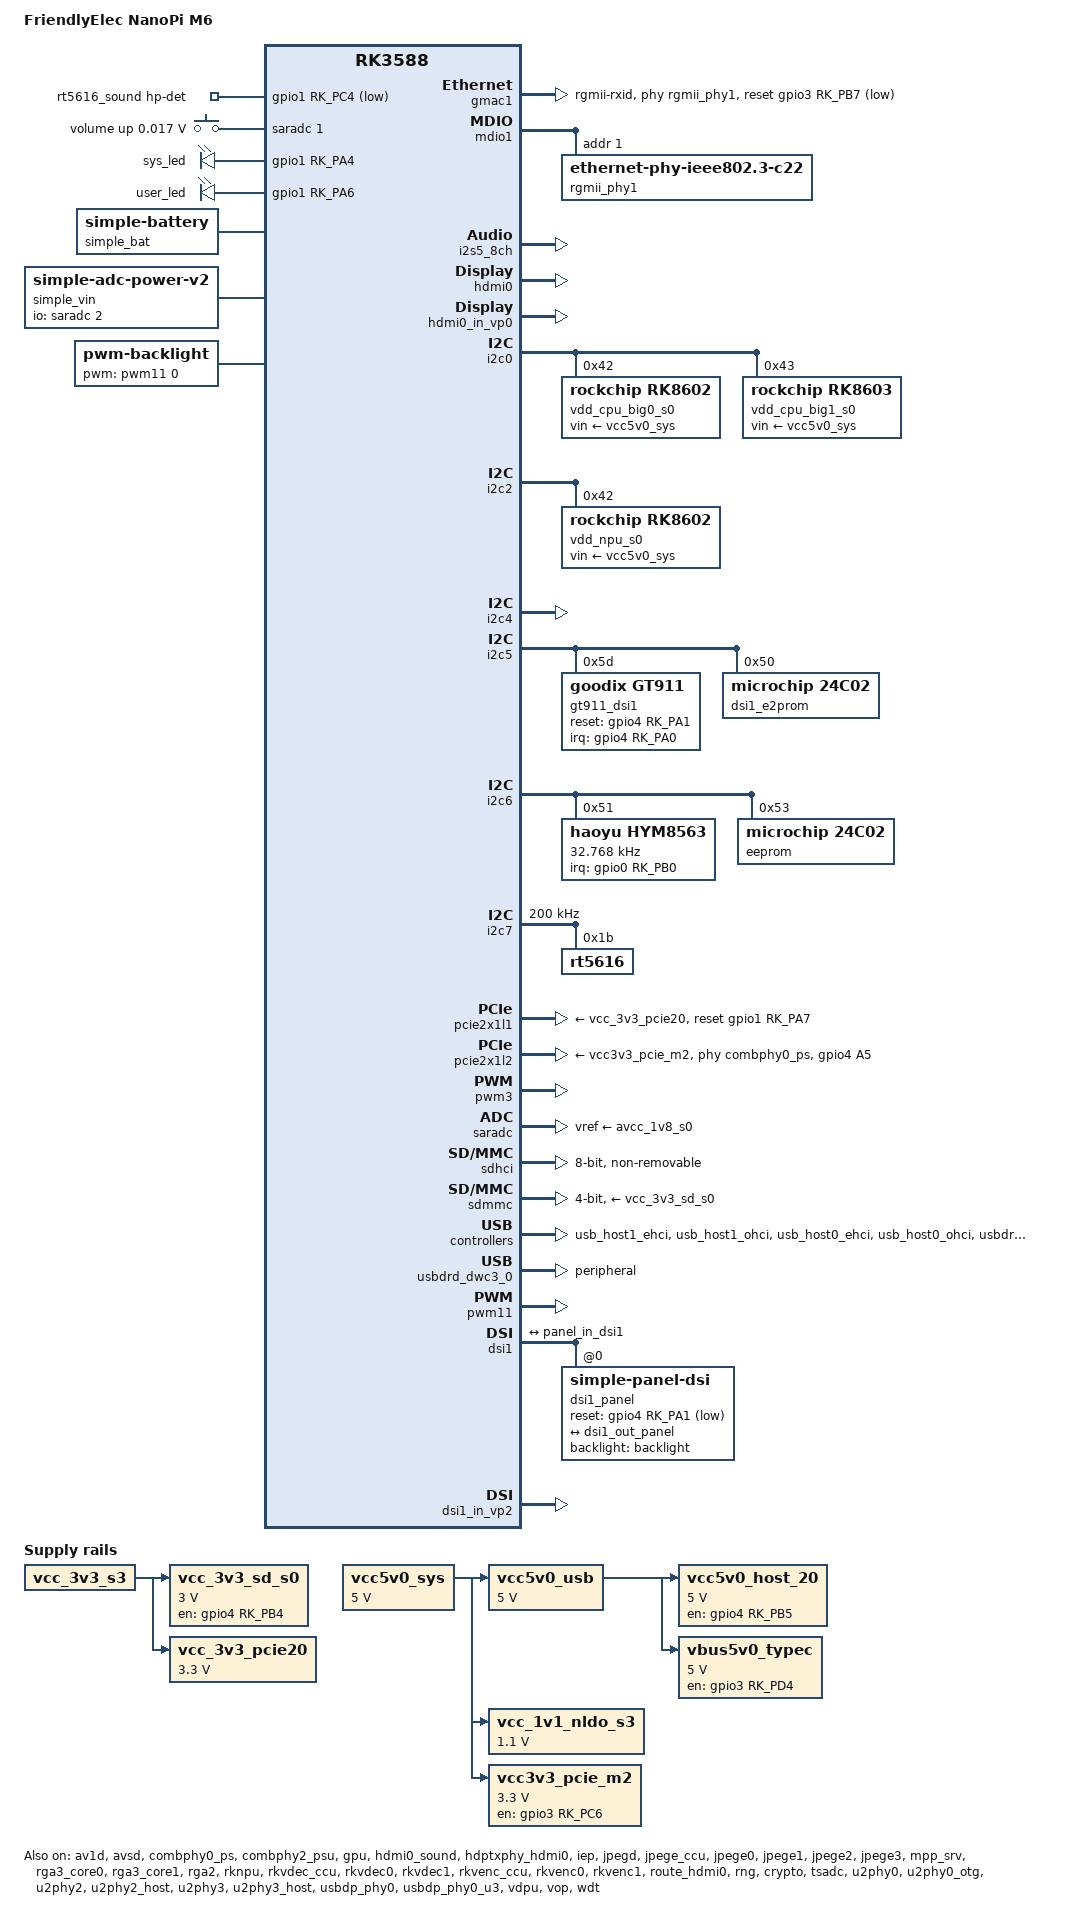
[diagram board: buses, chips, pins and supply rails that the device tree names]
// SPDX-License-Identifier: (GPL-2.0+ OR MIT)
/*
 * Copyright (c) 2022 FriendlyElec Computer Tech. Co., Ltd.
 * (http://www.friendlyelec.com)
 *
 * Copyright (c) 2021 Rockchip Electronics Co., Ltd.
 */
#include <dt-bindings/clock/rk3588-cru.h>
#include <dt-bindings/interrupt-controller/arm-gic.h>
#include <dt-bindings/interrupt-controller/irq.h>
#include <dt-bindings/phy/phy.h>
#include <dt-bindings/power/rk3588-power.h>
#include <dt-bindings/soc/rockchip,boot-mode.h>
#include <dt-bindings/soc/rockchip-system-status.h>
#include <dt-bindings/suspend/rockchip-rk3588.h>
#include <dt-bindings/thermal/thermal.h>
#include <dt-bindings/usb/pd.h>
#include <dt-bindings/gpio/gpio.h>
#include <dt-bindings/pwm/pwm.h>
#include <dt-bindings/pinctrl/rockchip.h>
#include <dt-bindings/input/linux-event-codes.h>
#include <dt-bindings/display/drm_mipi_dsi.h>
#include <dt-bindings/display/rockchip_vop.h>
#include <dt-bindings/sensor-dev.h>
#include "rk3588s.dtsi"
#include "rk3588-rk806-single.dtsi"
#include "rk3588-android.dtsi"

/dts-v1/;

/ {
	model = "FriendlyElec NanoPi M6";
	compatible = "friendlyelec,nanopi-m6", "rockchip,rk3588";

	aliases {
		ethernet0 = &gmac1;
	};

	rt5616_sound: rt5616-sound {
		status = "okay";
		compatible = "simple-audio-card";
		pinctrl-names = "default";
		pinctrl-0 = <&hp_det>;

		simple-audio-card,name = "realtek,rt5616-codec";
		simple-audio-card,format = "i2s";
		simple-audio-card,mclk-fs = <256>;

		simple-audio-card,hp-det-gpio = <&gpio1 RK_PC4 GPIO_ACTIVE_LOW>;
		simple-audio-card,hp-pin-name = "Headphone Jack";

		simple-audio-card,widgets =
			"Headphone", "Headphone Jack",
			"Microphone", "Microphone Jack";
		simple-audio-card,routing =
			"Headphone Jack", "HPOL",
			"Headphone Jack", "HPOR",
			"MIC1", "Microphone Jack",
			"Microphone Jack", "micbias1";

		simple-audio-card,cpu {
			sound-dai = <&i2s0_8ch>;
		};
		simple-audio-card,codec {
			sound-dai = <&rt5616>;
		};
	};

	adc_keys: adc-keys {
		compatible = "adc-keys";
		io-channels = <&saradc 1>;
		io-channel-names = "buttons";
		keyup-threshold-microvolt = <1800000>;
		poll-interval = <100>;

		vol-up-key {
			label = "volume up";
			linux,code = <KEY_VOLUMEUP>;
			press-threshold-microvolt = <17000>;
		};
	};

	gpio_leds: gpio-leds {
		compatible = "gpio-leds";

		sys_led: led-0 {
			gpios = <&gpio1 RK_PA4 GPIO_ACTIVE_HIGH>;
			label = "sys_led";
			linux,default-trigger = "heartbeat";
			pinctrl-names = "default";
			pinctrl-0 = <&sys_led_pin>;
		};

		user_led: led-1 {
			gpios = <&gpio1 RK_PA6 GPIO_ACTIVE_HIGH>;
			label = "user_led";
			pinctrl-names = "default";
			pinctrl-0 = <&user_led_pin>;
		};
	};

	vcc5v0_sys: vcc5v0-sys {
		compatible = "regulator-fixed";
		regulator-name = "vcc5v0_sys";
		regulator-always-on;
		regulator-boot-on;
		regulator-min-microvolt = <5000000>;
		regulator-max-microvolt = <5000000>;
	};

	vcc5v0_usb: vcc5v0-usb {
		compatible = "regulator-fixed";
		regulator-name = "vcc5v0_usb";
		regulator-always-on;
		regulator-boot-on;
		regulator-min-microvolt = <5000000>;
		regulator-max-microvolt = <5000000>;
		vin-supply = <&vcc5v0_sys>;
	};

	vcc_1v1_nldo_s3: vcc-1v1-nldo-s3 {
		compatible = "regulator-fixed";
		regulator-name = "vcc_1v1_nldo_s3";
		regulator-always-on;
		regulator-boot-on;
		regulator-min-microvolt = <1100000>;
		regulator-max-microvolt = <1100000>;
		vin-supply = <&vcc5v0_sys>;
	};

	vcc_3v3_sd_s0: vcc-3v3-sd-s0-regulator {
		compatible = "regulator-fixed";
		enable-active-high;
		gpio = <&gpio4 RK_PB4 GPIO_ACTIVE_HIGH>;
		pinctrl-names = "default";
		pinctrl-0 = <&sd_s0_pwr>;
		regulator-always-on;
		regulator-boot-on;
		regulator-max-microvolt = <3000000>;
		regulator-min-microvolt = <3000000>;
		regulator-name = "vcc_3v3_sd_s0";
		vin-supply = <&vcc_3v3_s3>;
	};

	vcc_3v3_pcie20: vcc3v3-pcie20 {
		compatible = "regulator-fixed";
		regulator-name = "vcc_3v3_pcie20";
		regulator-always-on;
		regulator-boot-on;
		regulator-min-microvolt = <3300000>;
		regulator-max-microvolt = <3300000>;
		vin-supply = <&vcc_3v3_s3>;
	};

	vcc3v3_pcie_m2: vcc3v3-pcie30 {
		compatible = "regulator-fixed";
		enable-active-high;
		gpios = <&gpio3 RK_PC6 GPIO_ACTIVE_HIGH>;
		pinctrl-names = "default";
		pinctrl-0 = <&pcie_m2_0_pwren>;
		regulator-name = "vcc3v3_pcie_m2";
		regulator-min-microvolt = <3300000>;
		regulator-max-microvolt = <3300000>;
		vin-supply = <&vcc5v0_sys>;
	};

	vcc5v0_host_20: vcc5v0-host-20 {
		compatible = "regulator-fixed";
		enable-active-high;
		gpio = <&gpio4 RK_PB5 GPIO_ACTIVE_HIGH>;
		pinctrl-names = "default";
		pinctrl-0 = <&vcc5v0_host20_en>;
		regulator-name = "vcc5v0_host_20";
		regulator-min-microvolt = <5000000>;
		regulator-max-microvolt = <5000000>;
		vin-supply = <&vcc5v0_usb>;
	};

	vbus5v0_typec: vbus5v0-typec {
		compatible = "regulator-fixed";
		enable-active-high;
		gpio = <&gpio3 RK_PD4 GPIO_ACTIVE_HIGH>;
		pinctrl-names = "default";
		pinctrl-0 = <&typec5v_pwren>;
		regulator-name = "vbus5v0_typec";
		regulator-min-microvolt = <5000000>;
		regulator-max-microvolt = <5000000>;
		vin-supply = <&vcc5v0_usb>;
	};

	simple_bat: battery {
		compatible = "simple-battery";
		voltage-max-design-microvolt = <21000000>;
		voltage-min-design-microvolt = <4500000>;
	};

	simple_vin: simple-vin {
		compatible = "simple-adc-power-v2";
		io-channels = <&saradc 2>;
		io-channel-names = "voltage";
		monitored-battery = <&simple_bat>;
	};

	backlight: backlight {
		status = "okay";
		compatible = "pwm-backlight";
		pwms = <&pwm11 0 25000 0>;
		brightness-levels = <
		0  20  20  21  21  22  22  23
		23  24  24  25  25  26  26  27
		27  28  28  29  29  30  30  31
		31  32  32  33  33  34  34  35
		35  36  36  37  37  38  38  39
		40  41  42  43  44  45  46  47
		48  49  50  51  52  53  54  55
		56  57  58  59  60  61  62  63
		64  65  66  67  68  69  70  71
		72  73  74  75  76  77  78  79
		80  81  82  83  84  85  86  87
		88  89  90  91  92  93  94  95
		96  97  98  99 100 101 102 103
		104 105 106 107 108 109 110 111
		112 113 114 115 116 117 118 119
		120 121 122 123 124 125 126 127
		128 129 130 131 132 133 134 135
		136 137 138 139 140 141 142 143
		144 145 146 147 148 149 150 151
		152 153 154 155 156 157 158 159
		160 161 162 163 164 165 166 167
		168 169 170 171 172 173 174 175
		176 177 178 179 180 181 182 183
		184 185 186 187 188 189 190 191
		192 193 194 195 196 197 198 199
		200 201 202 203 204 205 206 207
		208 209 210 211 212 213 214 215
		216 217 218 219 220 221 222 223
		224 225 226 227 228 229 230 231
		232 233 234 235 236 237 238 239
		240 241 242 243 244 245 246 247
		248 249 250 251 252 253 254 255
		>;
		default-brightness-level = <200>;
	};

	test-power {
		status = "okay";
	};
};

&av1d {
	status = "okay";
};

&av1d_mmu {
	status = "okay";
};

&avsd {
	status = "okay";
};

&combphy0_ps {
	status = "okay";
};

&combphy2_psu {
	status = "okay";
};

&cpu_l0 {
	cpu-supply = <&vdd_cpu_lit_s0>;
	mem-supply = <&vdd_cpu_lit_mem_s0>;
};

&cpu_b0 {
	cpu-supply = <&vdd_cpu_big0_s0>;
	mem-supply = <&vdd_cpu_big0_mem_s0>;
};

&cpu_b2 {
	cpu-supply = <&vdd_cpu_big1_s0>;
	mem-supply = <&vdd_cpu_big1_mem_s0>;
};

&display_subsystem {
	clocks = <&hdptxphy_hdmi0>, <&hdptxphy_hdmi0>;
	clock-names = "hdmi0_phy_pll", "hdmi1_phy_pll";
};

&gpu {
	mali-supply = <&vdd_gpu_s0>;
	mem-supply = <&vdd_gpu_mem_s0>;
	upthreshold = <60>;
	downdifferential = <30>;
	status = "okay";
};

&gmac1 {
	/* Use rgmii-rxid mode to disable rx delay inside Soc */
	phy-mode = "rgmii-rxid";
	clock_in_out = "output";

	snps,no-vlhash;
	snps,reset-gpio = <&gpio3 RK_PB7 GPIO_ACTIVE_LOW>;
	snps,reset-active-low;
	/* Reset time is 20ms, 100ms for rtl8211f */
	snps,reset-delays-us = <0 20000 100000>;

	pinctrl-names = "default";
	pinctrl-0 = <&gmac1_miim
		     &gmac1_tx_bus2
		     &gmac1_rx_bus2
		     &gmac1_rgmii_clk
		     &gmac1_rgmii_bus>;

	tx_delay = <0x42>;
	/* rx_delay = <0x4f>; */

	phy-handle = <&rgmii_phy1>;
	status = "okay";
};

&mdio1 {
	rgmii_phy1: phy@1 {
		compatible = "ethernet-phy-ieee802.3-c22";
		reg = <0x1>;
	};
};

&i2s5_8ch {
	status = "okay";
};

&hdmi0 {
	cec-enable;
	enable-gpios = <&gpio4 RK_PB6 GPIO_ACTIVE_HIGH>;
	status = "okay";
};

&hdmi0_in_vp0 {
	status = "okay";
};

&hdmi0_sound {
	status = "okay";
};

&hdptxphy_hdmi0 {
	status = "okay";
};

&i2c0 {
	status = "okay";
	pinctrl-names = "default";
	pinctrl-0 = <&i2c0m2_xfer>;

	vdd_cpu_big0_s0: vdd_cpu_big0_mem_s0: rk8602@42 {
		compatible = "rockchip,rk8602";
		reg = <0x42>;
		vin-supply = <&vcc5v0_sys>;
		regulator-compatible = "rk860x-reg";
		regulator-name = "vdd_cpu_big0_s0";
		regulator-min-microvolt = <550000>;
		regulator-max-microvolt = <1050000>;
		regulator-ramp-delay = <2300>;
		rockchip,suspend-voltage-selector = <1>;
		regulator-boot-on;
		regulator-always-on;
		regulator-state-mem {
			regulator-off-in-suspend;
		};
	};

	vdd_cpu_big1_s0: vdd_cpu_big1_mem_s0: rk8603@43 {
		compatible = "rockchip,rk8603";
		reg = <0x43>;
		vin-supply = <&vcc5v0_sys>;
		regulator-compatible = "rk860x-reg";
		regulator-name = "vdd_cpu_big1_s0";
		regulator-min-microvolt = <550000>;
		regulator-max-microvolt = <1050000>;
		regulator-ramp-delay = <2300>;
		rockchip,suspend-voltage-selector = <1>;
		regulator-boot-on;
		regulator-always-on;
		regulator-state-mem {
			regulator-off-in-suspend;
		};
	};
};

&i2c2 {
	status = "okay";

	vdd_npu_s0: vdd_npu_mem_s0: rk8602@42 {
		compatible = "rockchip,rk8602";
		reg = <0x42>;
		vin-supply = <&vcc5v0_sys>;
		regulator-compatible = "rk860x-reg";
		regulator-name = "vdd_npu_s0";
		regulator-min-microvolt = <550000>;
		regulator-max-microvolt = <950000>;
		regulator-ramp-delay = <2300>;
		rockchip,suspend-voltage-selector = <1>;
		regulator-boot-on;
		regulator-always-on;
		regulator-state-mem {
			regulator-off-in-suspend;
		};
	};
};

&i2c3 {
	status = "disabled";
};

&i2c4 {
	status = "okay";
	pinctrl-names = "default";
	pinctrl-0 = <&i2c4m3_xfer>;
};

&i2c5 {
	status = "disabled";
	pinctrl-names = "default";
	pinctrl-0 = <&i2c5m3_xfer>;
};

&i2c6 {
	status = "okay";
	pinctrl-names = "default";
	pinctrl-0 = <&i2c6m0_xfer>;


	hym8563: hym8563@51 {
		compatible = "haoyu,hym8563";
		reg = <0x51>;
		#clock-cells = <0>;
		clock-frequency = <32768>;
		clock-output-names = "hym8563";
		pinctrl-names = "default";
		pinctrl-0 = <&rtc_int>;

		interrupt-parent = <&gpio0>;
		interrupts = <RK_PB0 IRQ_TYPE_LEVEL_LOW>;
		wakeup-source;
	};

	eeprom@53 {
		compatible = "microchip,24c02", "atmel,24c02";
		reg = <0x53>;
		#address-cells = <2>;
		#size-cells = <0>;
		pagesize = <16>;
		size = <256>;

		eui_48: eui-48@fa {
			reg = <0xfa 0x06>;
		};
	};
};

&i2c7 {
	clock-frequency = <200000>;
	status = "okay";

	rt5616: rt5616@1b {
		status = "okay";
		#sound-dai-cells = <0>;
		compatible = "rt5616";
		reg = <0x1b>;
		clocks = <&mclkout_i2s0>;
		clock-names = "mclk";
		assigned-clocks = <&mclkout_i2s0>;
		assigned-clock-rates = <12288000>;
		pinctrl-names = "default";
		pinctrl-0 = <&i2s0_mclk>;
	};
};

&i2c8 {
	status = "disabled";
};

&iep {
	status = "okay";
};

&iep_mmu {
	status = "okay";
};

&jpegd {
	status = "okay";
};

&jpegd_mmu {
	status = "okay";
};

&jpege_ccu {
	status = "okay";
};

&jpege0 {
	status = "okay";
};

&jpege0_mmu {
	status = "okay";
};

&jpege1 {
	status = "okay";
};

&jpege1_mmu {
	status = "okay";
};

&jpege2 {
	status = "okay";
};

&jpege2_mmu {
	status = "okay";
};

&jpege3 {
	status = "okay";
};

&jpege3_mmu {
	status = "okay";
};

&mpp_srv {
	status = "okay";
};

&pcie2x1l1 {
	reset-gpios = <&gpio1 RK_PA7 GPIO_ACTIVE_HIGH>;
	rockchip,init-delay-ms = <100>;
	vpcie3v3-supply = <&vcc_3v3_pcie20>;
	rockchip,skip-hw-retry;
	status = "okay";
};

&pcie2x1l2 {
	pinctrl-names = "default";
	pinctrl-0 = <&pcie_m2_0_prsnt>;
	prsnt-gpios = <&gpio4 RK_PA5 GPIO_ACTIVE_HIGH>;
	phys = <&combphy0_ps PHY_TYPE_PCIE 0>;
	rockchip,skip-hw-retry;
	vpcie3v3-supply = <&vcc3v3_pcie_m2>;
	status = "okay";
};

&pinctrl {
	gpio-leds {
		sys_led_pin: sys-led-pin {
			rockchip,pins =
				<1 RK_PA4 RK_FUNC_GPIO &pcfg_pull_none>;
		};

		user_led_pin: lan1-led-pin {
			rockchip,pins =
				<1 RK_PA6 RK_FUNC_GPIO &pcfg_pull_none>;
		};
	};

	hym8563 {
		rtc_int: rtc-int {
			rockchip,pins = <0 RK_PB0 RK_FUNC_GPIO &pcfg_pull_up>;
		};
	};

	pcie {
		pcie_m2_0_pwren: pcie-m20-pwren {
			rockchip,pins = <3 RK_PC6 RK_FUNC_GPIO &pcfg_pull_none>;
		};
		pcie_m2_0_prsnt: pcie-m20-prsnt {
			rockchip,pins = <4 RK_PA5 RK_FUNC_GPIO &pcfg_pull_up>;
		};
	};

	sdmmc {
		sd_s0_pwr: sd-s0-pwr {
			rockchip,pins = <4 RK_PB4 RK_FUNC_GPIO &pcfg_pull_up>;
		};
	};

	usb {
		typec5v_pwren: typec5v-pwren {
			rockchip,pins = <3 RK_PD4 RK_FUNC_GPIO &pcfg_pull_none>;
		};

		vcc5v0_host20_en: vcc5v0-host20-en {
			rockchip,pins = <4 RK_PB5 RK_FUNC_GPIO &pcfg_pull_none>;
		};
	};

	headphone {
		hp_det: hp-det {
			rockchip,pins = <1 RK_PC4 RK_FUNC_GPIO &pcfg_pull_none>;
		};
	};

	lcd {
		lcd_rst0_gpio: lcd-rst0-gpio {
			rockchip,pins = <3 RK_PD2 RK_FUNC_GPIO &pcfg_pull_none>;
		};

		lcd_rst1_gpio: lcd-rst1-gpio {
			rockchip,pins = <4 RK_PA1 RK_FUNC_GPIO &pcfg_pull_none>;
		};

		touch_dsi1_gpio: touch-dsi1-gpio {
			rockchip,pins =
				<4 RK_PA0 RK_FUNC_GPIO &pcfg_pull_up>,
				<4 RK_PA2 RK_FUNC_GPIO &pcfg_pull_none>;
		};
	};
};

&pwm3 {
	compatible = "rockchip,remotectl-pwm";
	pinctrl-names = "default";
	pinctrl-0 = <&pwm3m0_pins>;
	remote_pwm_id = <3>;
	handle_cpu_id = <1>;
	remote_support_psci = <0>;
	status = "okay";

	ir_key1 {
		rockchip,usercode = <0xc43b>;
		rockchip,key_table =
			<0xff	KEY_POWER>,
			<0xef	KEY_LEFT>,
			<0xed	KEY_RIGHT>,
			<0xf2	KEY_UP>,
			<0xea	KEY_DOWN>,
			<0xee	KEY_ENTER>,
			<0xe9	KEY_MUTE>,
			<0xf1	KEY_VOLUMEDOWN>,
			<0xf3	KEY_VOLUMEUP>,
			<0xae	KEY_MENU>,
			<0xeb	KEY_LEFTMETA>,
			<0xaf	KEY_BACK>,
			<0xf7	KEY_MODE>,
			<0xe5	KEY_SYSRQ>,
			<0xf5	KEY_ESC>;
	};
};

&rga3_core0 {
	status = "okay";
};

&rga3_0_mmu {
	status = "okay";
};

&rga3_core1 {
	status = "okay";
};

&rga3_1_mmu {
	status = "okay";
};

&rga2 {
	status = "okay";
};

&rknpu {
	rknpu-supply = <&vdd_npu_s0>;
	mem-supply = <&vdd_npu_mem_s0>;
	status = "okay";
};

&rknpu_mmu {
	status = "okay";
};

&rkvdec_ccu {
	status = "okay";
};

&rkvdec0 {
	status = "okay";
};

&rkvdec0_mmu {
	status = "okay";
};

&rkvdec1 {
	status = "okay";
};

&rkvdec1_mmu {
	status = "okay";
};

&rkvenc_ccu {
	status = "okay";
};

&rkvenc0 {
	venc-supply = <&vdd_vdenc_s0>;
	mem-supply = <&vdd_vdenc_mem_s0>;
	status = "okay";
};

&rkvenc0_mmu {
	status = "okay";
};

&rkvenc1 {
	venc-supply = <&vdd_vdenc_s0>;
	mem-supply = <&vdd_vdenc_mem_s0>;
	status = "okay";
};

&rkvenc1_mmu {
	status = "okay";
};

&avcc_1v8_s0 {
	regulator-state-mem {
		regulator-on-in-suspend;
		regulator-suspend-microvolt = <1800000>;
	};
};

&vdd_log_s0 {
	regulator-state-mem {
		regulator-on-in-suspend;
		regulator-suspend-microvolt = <750000>;
	};
};

&rockchip_suspend {
	status = "okay";
	rockchip,sleep-debug-en = <1>;
	rockchip,sleep-mode-config = <
		(0
		| RKPM_SLP_ARMOFF_DDRPD
		)
	>;
	rockchip,wakeup-config = <
		(0
		| RKPM_CPU0_WKUP_EN
		| RKPM_GPIO_WKUP_EN
		)
	>;
};

&route_hdmi0 {
	status = "okay";
	connect = <&vp0_out_hdmi0>;
};

&rng {
	status = "okay";
};

&crypto {
	status = "okay";
};

&saradc {
	status = "okay";
	vref-supply = <&avcc_1v8_s0>;
};

&sdhci {
	bus-width = <8>;
	no-sdio;
	no-sd;
	non-removable;
	max-frequency = <200000000>;
	mmc-hs400-1_8v;
	mmc-hs400-enhanced-strobe;
	full-pwr-cycle-in-suspend;
	status = "okay";
};

&sdmmc {
	max-frequency = <150000000>;
	no-sdio;
	no-mmc;
	bus-width = <4>;
	cap-mmc-highspeed;
	cap-sd-highspeed;
	disable-wp;
	sd-uhs-sdr104;
	vmmc-supply = <&vcc_3v3_sd_s0>;
	vqmmc-supply = <&vccio_sd_s0>;
	pinctrl-names = "default";
	pinctrl-0 = <&sdmmc_bus4 &sdmmc_clk &sdmmc_cmd &sdmmc_det>;
	status = "okay";
};

&tsadc {
	status = "okay";
};

&u2phy0 {
	status = "okay";
};

&u2phy0_otg {
	phy-supply = <&vbus5v0_typec>;
	status = "okay";
};

&u2phy2 {
	status = "okay";
};

&u2phy2_host {
	phy-supply = <&vcc5v0_host_20>;
	status = "okay";
};

&u2phy3 {
	status = "okay";
};

&u2phy3_host {
	status = "okay";
};

&usb_host1_ehci {
	status = "okay";
};

&usb_host1_ohci {
	status = "okay";
};

&usb_host0_ehci {
	status = "okay";
};

&usb_host0_ohci {
	status = "okay";
};

&usbdp_phy0 {
	status = "okay";
};

&usbdp_phy0_u3 {
	status = "okay";
};

&usbdrd3_0 {
	status = "okay";
};

&usbdrd_dwc3_0 {
	dr_mode = "peripheral";
	extcon = <&u2phy0>;
	status = "okay";
};

&usbhost3_0 {
	status = "disabled";
};

&usbhost_dwc3_0 {
	status = "disabled";
};

&vdpu {
	status = "okay";
};

&vdpu_mmu {
	status = "okay";
};

&vop {
	assigned-clocks = <&cru ACLK_VOP>;
	assigned-clock-rates = <800000000>;
	vop-supply = <&vdd_log_s0>;
	support-multi-area;
	status = "okay";
};

&vop_mmu {
	status = "okay";
};

/* vp0 & vp1 splice for 8K output */
&vp0 {
	rockchip,plane-mask = <(1 << ROCKCHIP_VOP2_CLUSTER0 | 1 << ROCKCHIP_VOP2_ESMART0)>;
	rockchip,primary-plane = <ROCKCHIP_VOP2_ESMART0>;
};

&vp1 {
	rockchip,plane-mask = <(1 << ROCKCHIP_VOP2_CLUSTER1 | 1 << ROCKCHIP_VOP2_ESMART1)>;
	rockchip,primary-plane = <ROCKCHIP_VOP2_ESMART1>;
};

&vp2 {
	rockchip,plane-mask = <(1 << ROCKCHIP_VOP2_CLUSTER2 | 1 << ROCKCHIP_VOP2_ESMART2)>;
	rockchip,primary-plane = <ROCKCHIP_VOP2_ESMART2>;
};

&vp3 {
	rockchip,plane-mask = <(1 << ROCKCHIP_VOP2_CLUSTER3 | 1 << ROCKCHIP_VOP2_ESMART3)>;
	rockchip,primary-plane = <ROCKCHIP_VOP2_ESMART3>;
};

&wdt {
	status = "okay";
};

&pwm11 {
	pinctrl-0 = <&pwm11m3_pins>;
	status = "okay";
};

&dsi1 {
	status = "okay";

	dsi1_panel: panel@0 {
		status = "okay";
		compatible = "simple-panel-dsi";
		reg = <0>;
		backlight = <&backlight>;
		pinctrl-names = "default";
		pinctrl-0 = <&lcd_rst1_gpio>;
		reset-gpios = <&gpio4 RK_PA1 GPIO_ACTIVE_LOW>;
		panel-name = "yx35,210dpi";
		nvmems = <&dsi1_i2c 0x50 0xe0 0x10>;
		nvmem-status = <1>;

		reset-delay-ms = <20>;
		init-delay-ms = <120>;
		enable-delay-ms = <5>;
		prepare-delay-ms = <0>;
		unprepare-delay-ms = <10>;
		disable-delay-ms = <5>;
		width-mm = <45>;
		height-mm = <75>;

		dsi,flags = <(MIPI_DSI_MODE_VIDEO | MIPI_DSI_MODE_VIDEO_BURST |
			      MIPI_DSI_MODE_LPM | MIPI_DSI_CLOCK_NON_CONTINUOUS)>;
		dsi,format = <MIPI_DSI_FMT_RGB888>;
		dsi,lanes  = <2>;
		panel-init-sequence = [
			15 0A 02 01 00
			15 7D 02 11 00
			39 00 06 FF 77 01 00 00 13
			15 00 02 EF 08
			39 00 06 FF 77 01 00 00 10
			39 00 03 C0 63 00
			39 00 03 C1 14 14
			39 00 03 C2 37 02
			15 00 02 CC 10
			39 00 11 B0 C5 11 1B 0D 11 07 0A 09 08 24 05 12 10 A9 32 DF
			39 00 11 B1 C5 19 21 0B 0E 03 0C 07 07 26 04 12 11 AA 32 DF
			39 00 06 FF 77 01 00 00 11
			15 00 02 B0 4D
			15 00 02 B1 59
			15 00 02 B2 81
			15 00 02 B3 80
			15 00 02 B5 4E
			15 00 02 B7 85
			15 00 02 B8 32
			15 00 02 BB 03
			15 00 02 C1 08
			15 00 02 C2 08
			15 00 02 D0 88
			39 00 04 E0 00 00 02
			39 00 0C E1 06 28 08 28 05 28 07 28 0E 33 33
			39 00 0D E2 30 30 33 33 34 00 00 00 34 00 00 00
			39 00 05 E3 00 00 33 33
			39 00 03 E4 44 44
			39 00 11 E5 09 2F 2C 8C 0B 31 2C 8C 0D 33 2C 8C 0F 35 2C 8C
			39 00 05 E6 00 00 33 33
			39 00 03 E7 44 44
			39 00 11 E8 08 2E 2C 8C 0A 30 2C 8C 0C 32 2C 8C 0E 34 2C 8C
			39 00 03 E9 36 00
			39 00 08 EB 00 01 E4 E4 44 88 40
			39 00 11 ED FF FC B2 45 67 FA 01 FF FF 10 AF 76 54 2B CF FF
			39 00 07 EF 08 08 08 45 3F 54
			39 00 06 FF 77 01 00 00 13
			39 00 03 E8 00 0E
			15 78 02 11 00
			39 0A 03 E8 00 0C
			39 00 03 E8 00 00
			39 00 06 FF 77 01 00 00 00
			15 00 02 36 00
			15 00 02 29 00
		];

		panel-exit-sequence = [
			15 00 02 28 00
			15 3C 02 10 00
		];

		display-timings {
			native-mode = <&dsi1_timing0>;
			dsi1_timing0: timing0 {
				clock-frequency = <29700000>;
				hactive = <480>;
				vactive = <800>;
				hfront-porch = <40>;
				hsync-len = <32>;
				hback-porch = <30>;
				vfront-porch = <20>;
				vsync-len = <10>;
				vback-porch = <20>;
				hsync-active = <0>;
				vsync-active = <0>;
				de-active = <0>;
				pixelclk-active = <0>;
			};
		};

		ports {
			#address-cells = <1>;
			#size-cells = <0>;

			port@0 {
				reg = <0>;
				panel_in_dsi1: endpoint {
					remote-endpoint = <&dsi1_out_panel>;
				};
			};
		};
	};

	ports {
		#address-cells = <1>;
		#size-cells = <0>;

		port@1 {
			reg = <1>;
			dsi1_out_panel: endpoint {
				remote-endpoint = <&panel_in_dsi1>;
			};
		};
	};
};

&i2c5 {
	status = "okay";
	pinctrl-names = "default";
	pinctrl-0 = <&i2c5m2_xfer>;

	gt911_dsi1: gt911@5d {
		status = "okay";
		compatible = "goodix,gt911";
		reg = <0x5d>;
		pinctrl-names = "default";
		pinctrl-0 = <&touch_dsi1_gpio>;
		interrupt-parent = <&gpio4>;
		interrupts = <RK_PA0 IRQ_TYPE_EDGE_FALLING>;
		reset-gpios = <&gpio4 RK_PA1 GPIO_ACTIVE_HIGH>;
		irq-gpios = <&gpio4 RK_PA0 IRQ_TYPE_EDGE_FALLING>;
	};

	dsi1_e2prom: eeprom@50 {
		compatible = "microchip,24c02", "atmel,24c02";
		reg = <0x50>;
		#address-cells = <2>;
		#size-cells = <0>;
		pagesize = <16>;
		size = <256>;
	};
};

&mipi_dcphy1 {
	status = "okay";
};

&route_dsi1 {
	status = "okay";
	connect = <&vp2_out_dsi1>;
};

&dsi1_in_vp2 {
	status = "okay";
};
